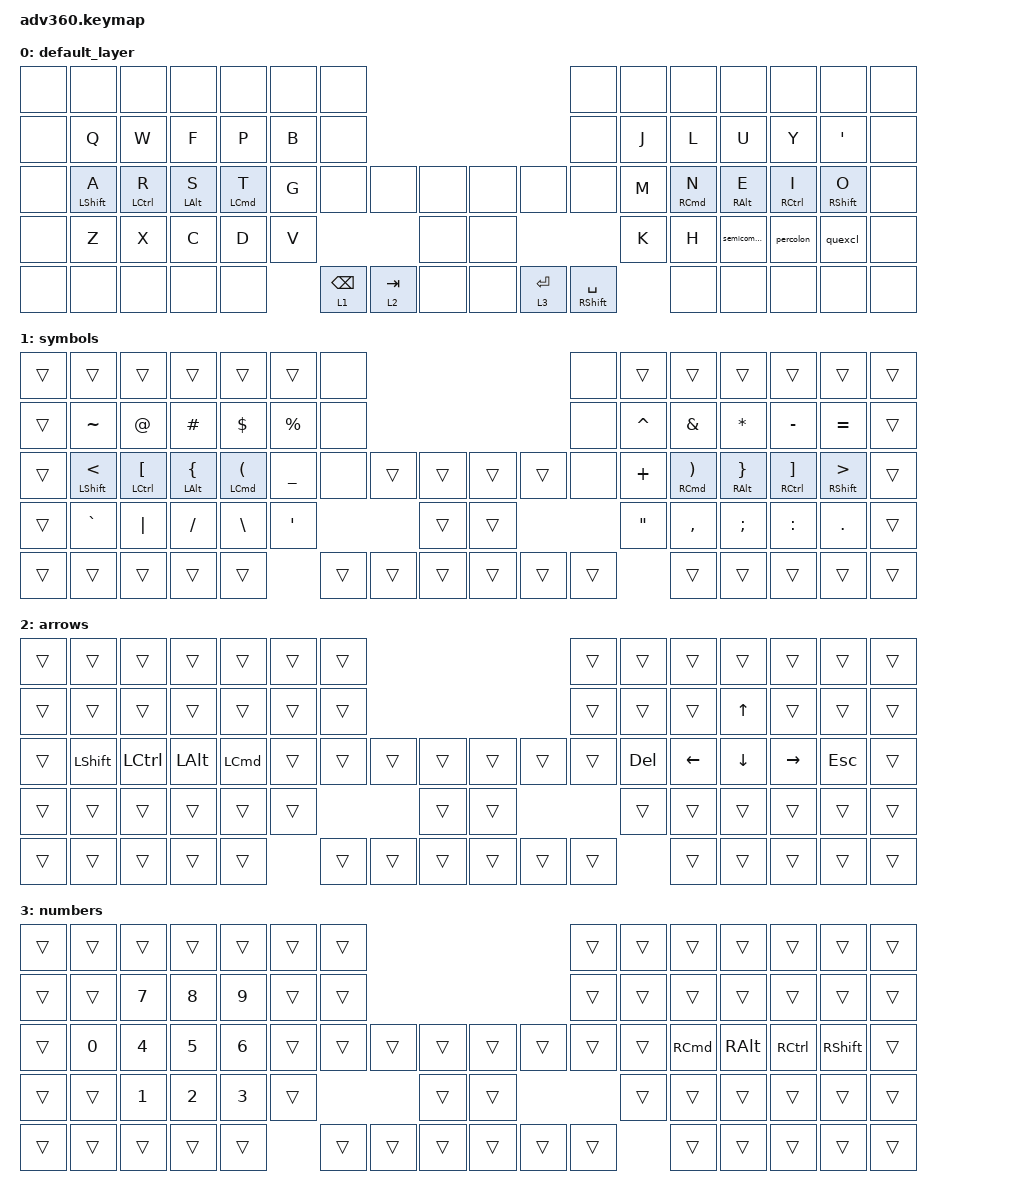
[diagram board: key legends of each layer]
#include <behaviors.dtsi>
#include <dt-bindings/zmk/keys.h>

/ {
    behaviors {
        #include "macros.dtsi"

        hm: homerow_mods {
            compatible = "zmk,behavior-hold-tap";
            label = "HOMEROW_MODS";
            #binding-cells = <2>;
            tapping-term-ms = <200>;
            quick_tap_ms = <175>;
            flavor = "tap-preferred";
            bindings = <&kp>, <&kp>;
        };

        spc_shft: spc_shft {
            compatible = "zmk,behavior-hold-tap";
            label = "SPC_SHFT";
            bindings = <&kp>, <&kp>;

            #binding-cells = <2>;
            tapping-term-ms = <175>;
            quick-tap-ms = <150>;
            flavor = "balanced";
        };

        quexcl: quexcl {
            compatible = "zmk,behavior-mod-morph";
            label = "QUEXCL";
            bindings = <&kp QUESTION>, <&kp EXCL>;

            #binding-cells = <0>;
            mods = <(MOD_LSFT|MOD_RSFT)>;
        };

        semicomma: semicomma {
            compatible = "zmk,behavior-mod-morph";
            label = "SEMICOMMA";
            bindings = <&kp COMMA>, <&kp SEMI>;

            #binding-cells = <0>;
            mods = <(MOD_LSFT|MOD_RSFT)>;
        };

        percolon: percolon {
            compatible = "zmk,behavior-mod-morph";
            label = "PERCOLON";
            bindings = <&kp PERIOD>, <&kp COLON>;

            #binding-cells = <0>;
            mods = <(MOD_LSFT|MOD_RSFT)>;
        };
    };

    combos { compatible = "zmk,combos"; };

    keymap {
        compatible = "zmk,keymap";

        default_layer {
            bindings = <
&none  &none             &none        &none           &none               &none  &none                                                       &none                        &none  &none                &none            &none        &none              &none
&none  &kp Q             &kp W        &kp F           &kp P               &kp B  &none                                                       &none                        &kp J  &kp L                &kp U            &kp Y        &kp SQT            &none
&none  &hm LEFT_SHIFT A  &hm LCTRL R  &hm LEFT_ALT S  &hm LEFT_COMMAND T  &kp G  &none            &none      &none      &none  &none         &none                        &kp M  &hm RIGHT_COMMAND N  &hm RIGHT_ALT E  &hm RCTRL I  &hm RIGHT_SHIFT O  &none
&none  &kp Z             &kp X        &kp C           &kp D               &kp V                              &none      &none                                             &kp K  &kp H                &semicomma       &percolon    &quexcl            &none
&none  &none             &none        &none           &none                      &lt 1 BACKSPACE  &lt 2 TAB  &none      &none  &lt 3 RETURN  &spc_shft RIGHT_SHIFT SPACE         &none                &none            &none        &none              &none
            >;
        };

        symbols {
            bindings = <
&trans  &trans                    &trans                  &trans                   &trans                             &trans            &none                                       &none   &trans             &trans                               &trans                     &trans                   &trans                        &trans
&trans  &kp TILDE                 &kp AT                  &kp HASH                 &kp DOLLAR                         &kp PERCENT       &none                                       &none   &kp CARET          &kp AMPS                             &kp ASTRK                  &kp MINUS                &kp EQUAL                     &trans
&trans  &hm LEFT_SHIFT LESS_THAN  &hm LCTRL LEFT_BRACKET  &hm LEFT_ALT LEFT_BRACE  &hm LEFT_COMMAND LEFT_PARENTHESIS  &kp UNDER         &none   &trans  &trans      &trans  &trans  &none   &kp PLUS           &hm RIGHT_COMMAND RIGHT_PARENTHESIS  &hm RIGHT_ALT RIGHT_BRACE  &hm RCTRL RIGHT_BRACKET  &hm RIGHT_SHIFT GREATER_THAN  &trans
&trans  &kp GRAVE                 &kp PIPE                &kp SLASH                &kp BACKSLASH                      &kp SINGLE_QUOTE                  &trans      &trans                  &kp DOUBLE_QUOTES  &kp COMMA                            &kp SEMICOLON              &kp COLON                &kp PERIOD                    &trans
&trans  &trans                    &trans                  &trans                   &trans                                               &trans  &trans  &trans      &trans  &trans  &trans                     &trans                               &trans                     &trans                   &trans                        &trans
            >;
        };

        arrows {
            bindings = <
&trans  &trans          &trans     &trans        &trans            &trans  &trans                                      &trans  &trans      &trans          &trans          &trans     &trans      &trans
&trans  &trans          &trans     &trans        &trans            &trans  &trans                                      &trans  &trans      &trans          &kp UP_ARROW    &trans     &trans      &trans
&trans  &kp LEFT_SHIFT  &kp LCTRL  &kp LEFT_ALT  &kp LEFT_COMMAND  &trans  &trans  &trans  &trans      &trans  &trans  &trans  &kp DELETE  &kp LEFT_ARROW  &kp DOWN_ARROW  &kp RIGHT  &kp ESCAPE  &trans
&trans  &trans          &trans     &trans        &trans            &trans                  &trans      &trans                  &trans      &trans          &trans          &trans     &trans      &trans
&trans  &trans          &trans     &trans        &trans                    &trans  &trans  &trans      &trans  &trans  &trans              &trans          &trans          &trans     &trans      &trans
            >;
        };

        numbers {
            bindings = <
&trans  &trans  &trans        &trans        &trans        &trans  &trans                                      &trans  &trans  &trans             &trans         &trans     &trans           &trans
&trans  &trans  &kp N7        &kp N8        &kp N9        &trans  &trans                                      &trans  &trans  &trans             &trans         &trans     &trans           &trans
&trans  &kp N0  &kp NUMBER_4  &kp N5        &kp NUMBER_6  &trans  &trans  &trans  &trans      &trans  &trans  &trans  &trans  &kp RIGHT_COMMAND  &kp RIGHT_ALT  &kp RCTRL  &kp RIGHT_SHIFT  &trans
&trans  &trans  &kp NUMBER_1  &kp NUMBER_2  &kp NUMBER_3  &trans                  &trans      &trans                  &trans  &trans             &trans         &trans     &trans           &trans
&trans  &trans  &trans        &trans        &trans                &trans  &trans  &trans      &trans  &trans  &trans          &trans             &trans         &trans     &trans           &trans
            >;
        };
    };
};
